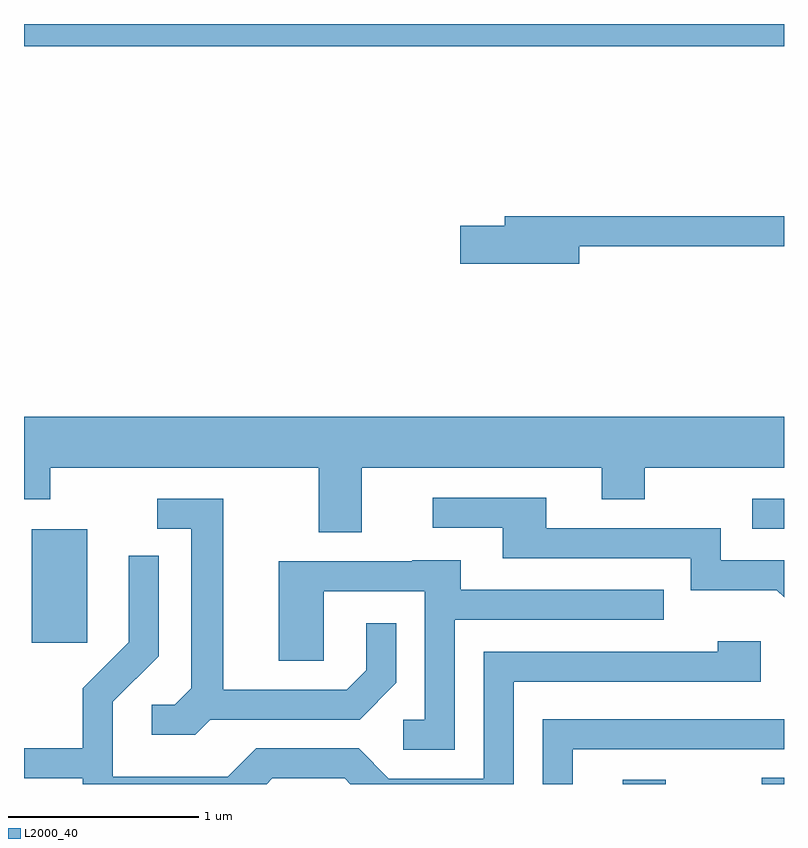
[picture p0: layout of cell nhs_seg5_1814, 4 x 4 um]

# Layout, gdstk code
import gdstk
lib = gdstk.Library(unit=1e-6, precision=1e-09)
def R(c, l, rs):  # rectangles x0, y0, x1, y1
    for r in rs: c.add(gdstk.rectangle(r[:2], r[2:], *l))
def P(c, l, *ps):  # polygons
    for p in ps: c.add(gdstk.Polygon(p, *l))
L2000_40 = (2000, 40)

nhs_seg5_1814 = lib.new_cell('nhs_seg5_1814')
R(nhs_seg5_1814, L2000_40, [(242.761,1404.072,242.989,1404.094), (243.493,1404.072,243.611,1404.104), (239.651,1404.816,239.944,1405.414), (243.443,1405.416,243.611,1405.574), (239.611,1407.956,243.611,1408.072)])
P(nhs_seg5_1814, L2000_40, [(242.534,1406.901),(243.611,1406.901),(243.611,1407.059),(242.141,1407.059),(242.141,1407.009),(241.906,1407.009),(241.906,1406.811),(242.534,1406.811)],
  [(241.389,1405.736),(242.651,1405.736),(242.651,1405.571),(242.879,1405.571),(242.879,1405.736),(243.611,1405.736),(243.611,1406.004),(239.611,1406.004),(239.611,1405.571),(239.749,1405.571),(239.749,1405.736),(241.161,1405.736),(241.161,1405.396),(241.389,1405.396)],
  [(243.611,1405.249),(243.279,1405.249),(243.279,1405.419),(242.359,1405.419),(242.359,1405.579),(241.763,1405.579),(241.763,1405.421),(242.131,1405.421),(242.131,1405.261),(243.121,1405.261),(243.121,1405.091),(243.574,1405.091),(243.611,1405.054)],
  [(240.592,1404.411),(241.377,1404.411),(241.569,1404.604),(241.569,1404.918),(241.411,1404.918),(241.411,1404.672),(241.309,1404.569),(240.659,1404.569),(240.659,1405.574),(240.313,1405.574),(240.313,1405.416),(240.491,1405.416),(240.491,1404.577),(240.404,1404.489),(240.283,1404.489),(240.283,1404.331),(240.512,1404.331)],
  [(240.917,1404.101),(241.299,1404.101),(241.328,1404.072),(242.189,1404.072),(242.189,1404.611),(243.489,1404.611),(243.489,1404.824),(243.261,1404.824),(243.261,1404.769),(242.031,1404.769),(242.031,1404.099),(241.532,1404.099),(241.372,1404.259),(240.834,1404.259),(240.684,1404.109),(240.079,1404.109),(240.079,1404.504),(240.319,1404.744),(240.319,1405.273),(240.161,1405.273),(240.161,1404.817),(239.921,1404.577),(239.921,1404.259),(239.611,1404.259),(239.611,1404.101),(239.921,1404.101),(239.921,1404.072),(240.888,1404.072)],
  [(241.879,1404.936),(242.978,1404.936),(242.978,1405.094),(241.909,1405.094),(241.909,1405.249),(241.655,1405.249),(241.655,1405.244),(240.951,1405.244),(240.951,1404.721),(241.189,1404.721),(241.189,1405.086),(241.721,1405.086),(241.721,1404.409),(241.608,1404.409),(241.608,1404.251),(241.879,1404.251)],
  [(242.499,1404.256),(243.611,1404.256),(243.611,1404.414),(242.341,1404.414),(242.341,1404.072),(242.499,1404.072)])

lib.write_gds('nhs_seg5_1814.gds')
